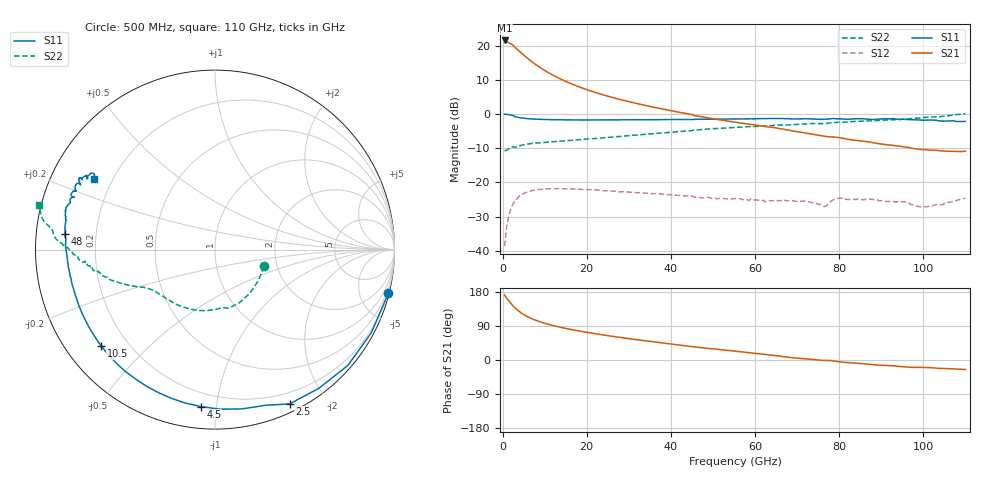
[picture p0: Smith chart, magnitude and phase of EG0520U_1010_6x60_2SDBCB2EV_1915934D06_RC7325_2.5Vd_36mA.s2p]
!File name = EG0520U_1010_6x60_2SDBCB2EV_1915934D06_RC7325_2.5Vd_36mA.s2p
!Base file name = EG0520U_1010_6x60_2SDBCB2EV_1915934D06_RC7325
!Date = 8/23/2019
!Time = 1:08 PM
!Test duration(min) = 0.15
!Test = S-Parameters
!MPTS version = 8.91.5
!State File = C:\Data\PNA\20190821205423\S-Parameters_2019-08-23.sta
!Cal File =
!ComputerName = CMPE-LAB-6
!Comments =
!Attenuation = 0
!Z0 = 50
!Input Power(dBm) = -13.00
!Device ID = EG0520U_1010_6x60_2SDBCB2EV
!Row = 73
!Column = 25
!Technology = QPHT09
!Lot/Wafer = 1915934D06
!Gate Size = 360
!Mask = EG0520
!Cal Standards = GaAs BCB
!Cal Kit = EG2306
!Job Number = 20190821205423
!Device Type = FET
!set_Vg(v) = -1.500
!set_Vd(v) = 2.500
!set_Vd(mA) = 36.000
!file_name = EG0520U_1010_6x60_2SDBCB2EV_1915934D06_RC7325_2.5Vd_36mA.s2p
!Vd(V) = 2.500
!Vd(mA) = 36.010
!Vg(V) = -0.529
!Vg(mA) = -0.001
# GHz  S  DB  R  50
!%	Freq(GHz)  s11(dB)  s11(deg)  s21(dB)  s21(deg)  s12(dB)  s12(deg)  s22(dB)  s22(deg)
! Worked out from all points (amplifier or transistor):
!   220 points, 500 MHz to 110 GHz, reference 50 ohm
!   highest |S21| = 21.5 dB at 500 MHz (marker M1)
!   |S21| within 3 dB of that: start of sweep to 3.874 GHz
!   unconditionally stable (mu >= 1): 36.97 GHz to 105.3 GHz
!   at 18.5 GHz: K = 0.49, MSG = 14.9 dB, |S12| = -22.0 dB
!   at 55.5 GHz: K = 1.40, MAG = 7.4 dB, |S12| = -24.7 dB
!   at 110 GHz: K = -1.07, MSG = 6.9 dB, |S12| = -24.6 dB
!   S11 on the Smith chart (normalised r, x): 500 MHz: 0.13, -8.07; 2.5 GHz: 0.08, -1.59; 4.5 GHz: 0.12, -0.91; 10.5 GHz: 0.11, -0.36; 48 GHz: 0.09, +0.05; 110 GHz: 0.13, +0.27
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0.5  -0.04 -14.1  21.50 171.5  -38.61 81.7  -10.76 -18.8
1  -0.12 -28.0  21.13 163.0  -32.81 74.2  -10.54 -35.8
1.5  -0.16 -41.0  20.80 156.1  -29.65 66.9  -10.13 -51.3
2  -0.30 -53.1  20.53 148.7  -27.62 60.2  -9.72 -65.9
2.5  -0.40 -64.2  20.12 142.5  -26.22 54.4  -9.49 -77.3
3  -0.79 -71.8  19.44 137.4  -25.39 50.2  -9.73 -82.3
3.5  -0.92 -80.5  18.91 132.4  -24.61 45.8  -9.51 -90.5
4.5  -1.13 -95.2  17.82 123.9  -23.57 38.4  -9.12 -103.9
5.5  -1.28 -106.8  16.75 117.0  -22.95 32.7  -8.89 -113.8
7  -1.44 -120.2  15.27 108.8  -22.39 26.1  -8.59 -124.1
8.5  -1.52 -129.8  13.95 102.4  -22.06 21.4  -8.43 -130.7
10.5  -1.61 -139.6  12.38 95.3  -21.87 16.3  -8.22 -137.3
14  -1.70 -151.3  10.11 85.8  -21.82 10.4  -7.88 -143.9
19  -1.74 -161.5  7.58 75.0  -22.00 5.0  -7.41 -149.0
26.5  -1.73 -170.9  4.71 61.8  -22.50 0.9  -6.67 -153.3
37  -1.64 -179.0  1.72 46.1  -23.27 -1.1  -5.62 -157.8
48  -1.50 173.9  -0.94 31.7  -24.37 -1.9  -4.47 -163.3
55.5  -1.45 169.6  -2.40 23.1  -24.67 -2.2  -3.87 -166.7
73.5  -1.44 160.1  -5.86 1.4  -25.89 -8.9  -2.77 -174.0
92  -1.40 152.2  -9.04 -14.8  -25.53 -19.8  -1.73 179.3
100  -1.80 150.7  -10.37 -19.7  -27.14 -20.8  -1.05 176.3
110  -2.16 149.8  -10.85 -25.2  -24.57 -18.3  0.11 165.9
